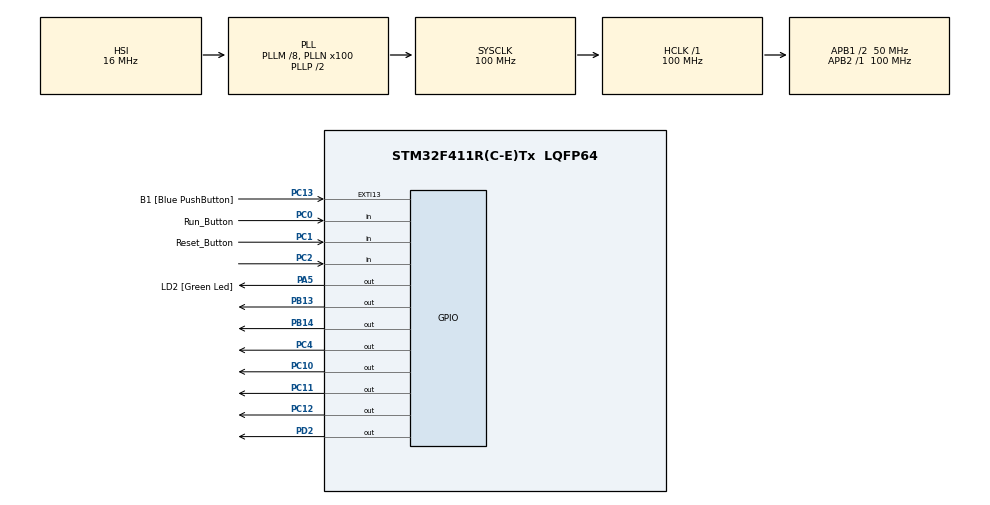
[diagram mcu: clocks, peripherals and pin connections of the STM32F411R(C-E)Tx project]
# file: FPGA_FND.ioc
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Mcu.Family=STM32F4
Mcu.Name=STM32F411R(C-E)Tx
Mcu.Package=LQFP64
NVIC.PriorityGroup=NVIC_PRIORITYGROUP_0
NVIC.TIM1_UP_TIM10_IRQn=true\:0\:0\:false\:false\:true\:true\:true\:true
PA13.GPIO_Label=TMS
PA13.Mode=Serial_Wire
PA13.Signal=SYS_JTMS-SWDIO
PA14.GPIO_Label=TCK
PA14.Mode=Serial_Wire
PA14.Signal=SYS_JTCK-SWCLK
PA2.Signal=USART2_TX
PA3.Signal=USART2_RX
PA5.GPIO_Label=LD2 [Green Led]
PA5.Signal=GPIO_Output
PB13.Signal=GPIO_Output
PB14.Signal=GPIO_Output
PB3.GPIO_Label=SWO
PB3.Signal=SYS_JTDO-SWO
PC0.GPIO_Label=Run_Button
PC0.Signal=GPIO_Input
PC1.GPIO_Label=Reset_Button
PC1.Signal=GPIO_Input
PC10.Signal=GPIO_Output
PC11.Signal=GPIO_Output
PC12.Signal=GPIO_Output
PC13-ANTI_TAMP.GPIO_Label=B1 [Blue PushButton]
PC13-ANTI_TAMP.GPIO_ModeDefaultEXTI=GPIO_MODE_IT_FALLING
PC13-ANTI_TAMP.Signal=GPXTI13
PC14-OSC32_IN.Signal=RCC_OSC32_IN
PC15-OSC32_OUT.Signal=RCC_OSC32_OUT
PC2.Signal=GPIO_Input
PC4.Signal=GPIO_Output
PD2.Signal=GPIO_Output
PH0\ -\ OSC_IN.Mode=HSE-External-Oscillator
PH0\ -\ OSC_IN.Signal=RCC_OSC_IN
PH1\ -\ OSC_OUT.Mode=HSE-External-Oscillator
PH1\ -\ OSC_OUT.Signal=RCC_OSC_OUT
ProjectManager.HeapSize=0x200
ProjectManager.StackSize=0x400
ProjectManager.TargetToolchain=STM32CubeIDE
RCC.48MHZClocksFreq_Value=50000000
RCC.AHBFreq_Value=100000000
RCC.APB1CLKDivider=RCC_HCLK_DIV2
RCC.APB1Freq_Value=50000000
RCC.APB1TimFreq_Value=100000000
RCC.APB2Freq_Value=100000000
RCC.APB2TimFreq_Value=100000000
RCC.CortexFreq_Value=100000000
RCC.FLatency-AdvancedSettings=FLASH_LATENCY_3
RCC.HCLKFreq_Value=100000000
RCC.HSE_VALUE=8000000
RCC.HSI_VALUE=16000000
RCC.LSE_VALUE=32768
RCC.PLLM=8
RCC.PLLN=100
RCC.SYSCLKFreq_VALUE=100000000
RCC.SYSCLKSource=RCC_SYSCLKSOURCE_PLLCLK
RCC.VCOOutputFreq_Value=200000000
TIM1.Period=100-1
TIM1.Prescaler=1000-1
VP_TIM1_VS_ClockSourceINT.Mode=Internal
board=NUCLEO-F411RE

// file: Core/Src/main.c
/* USER CODE BEGIN Header */
/**
  ******************************************************************************
  * @file           : main.c
  * @brief          : Main program body
  ******************************************************************************
  * @attention
  *
  * Copyright (c) 2022 STMicroelectronics.
  * All rights reserved.
  *
  * This software is licensed under terms that can be found in the LICENSE file
  * in the root directory of this software component.
  * If no LICENSE file comes with this software, it is provided AS-IS.
  *
  ******************************************************************************
  */
/* USER CODE END Header */
#include "main.h"

/* USER CODE BEGIN Includes */
#include "Driver/hw/Button/Button.h"
#include "Driver/hw/LED/Led.h"
#include "Driver/hw/FPGA_FND/FPGA_FND.h"
#include "Driver/app/Listener/Listener.h"
#include "Driver/app/Controller/Controller.h"
#include "Driver/app/Service/Service.h"
#include "Driver/app/View/View.h"

/* USER CODE END Includes */

TIM_HandleTypeDef htim1;

void SystemClock_Config(void);
static void MX_GPIO_Init(void);
static void MX_TIM1_Init(void);

/* USER CODE BEGIN 0 */
void HAL_TIM_PeriodElapsedCallback(TIM_HandleTypeDef *htim)
{
	if(htim->Instance == TIM1)
	{
		FPGA_FND_DispFNDNumber();
	}
}
/* USER CODE END 0 */

int main(void)
{

  /* MCU Configuration--------------------------------------------------------*/

  /* Reset of all peripherals, Initializes the Flash interface and the Systick. */
  HAL_Init();

  /* USER CODE BEGIN Init */
//  Button ledButton;
  Button runButton;
  Button resetButton;
//  Button_GetInstance(&ledButton, GPIOC, GPIO_PIN_13);
  Button_GetInstance(&runButton, GPIOC, GPIO_PIN_0);
  Button_GetInstance(&resetButton, GPIOC, GPIO_PIN_1);

  Led testLed;
  Led_GetInstance(&testLed, GPIOA, GPIO_PIN_5);
  /* USER CODE END Init */

  /* Configure the system clock */
  SystemClock_Config();

  /* Initialize all configured peripherals */
  MX_GPIO_Init();
  MX_TIM1_Init();

  /* Infinite loop */
  /* USER CODE BEGIN WHILE */
  HAL_TIM_Base_Start_IT(&htim1);
//  int number = 0;

  while (1)
  {
//	  if(Button_GetState(&ledButton) == ACTIVE_RELEASE)
//	  {
//		  Led_Toggle(&testLed);
//	  }
//	  FPGA_FND_SetNumber(number);
//	  number++;

	  Listener_CheckEvent(&runButton, &resetButton);
	  View_FND();
	  HAL_Delay(100);
    /* USER CODE END WHILE */

  }
}

void SystemClock_Config(void)
{
  RCC_OscInitTypeDef RCC_OscInitStruct = {0};
  RCC_ClkInitTypeDef RCC_ClkInitStruct = {0};

  /** Configure the main internal regulator output voltage
  */
  __HAL_RCC_PWR_CLK_ENABLE();
  __HAL_PWR_VOLTAGESCALING_CONFIG(PWR_REGULATOR_VOLTAGE_SCALE1);

  /** Initializes the RCC Oscillators according to the specified parameters
  * in the RCC_OscInitTypeDef structure.
  */
  RCC_OscInitStruct.OscillatorType = RCC_OSCILLATORTYPE_HSI;
  RCC_OscInitStruct.HSIState = RCC_HSI_ON;
  RCC_OscInitStruct.HSICalibrationValue = RCC_HSICALIBRATION_DEFAULT;
  RCC_OscInitStruct.PLL.PLLState = RCC_PLL_ON;
  RCC_OscInitStruct.PLL.PLLSource = RCC_PLLSOURCE_HSI;
  RCC_OscInitStruct.PLL.PLLM = 8;
  RCC_OscInitStruct.PLL.PLLN = 100;
  RCC_OscInitStruct.PLL.PLLP = RCC_PLLP_DIV2;
  RCC_OscInitStruct.PLL.PLLQ = 4;
  if (HAL_RCC_OscConfig(&RCC_OscInitStruct) != HAL_OK)
  {
    Error_Handler();
  }

  /** Initializes the CPU, AHB and APB buses clocks
  */
  RCC_ClkInitStruct.ClockType = RCC_CLOCKTYPE_HCLK|RCC_CLOCKTYPE_SYSCLK
                              |RCC_CLOCKTYPE_PCLK1|RCC_CLOCKTYPE_PCLK2;
  RCC_ClkInitStruct.SYSCLKSource = RCC_SYSCLKSOURCE_PLLCLK;
  RCC_ClkInitStruct.AHBCLKDivider = RCC_SYSCLK_DIV1;
  RCC_ClkInitStruct.APB1CLKDivider = RCC_HCLK_DIV2;
  RCC_ClkInitStruct.APB2CLKDivider = RCC_HCLK_DIV1;

  if (HAL_RCC_ClockConfig(&RCC_ClkInitStruct, FLASH_LATENCY_3) != HAL_OK)
  {
    Error_Handler();
  }
}

static void MX_TIM1_Init(void)
{

  TIM_ClockConfigTypeDef sClockSourceConfig = {0};
  TIM_MasterConfigTypeDef sMasterConfig = {0};

  htim1.Instance = TIM1;
  htim1.Init.Prescaler = 1000-1;
  htim1.Init.CounterMode = TIM_COUNTERMODE_UP;
  htim1.Init.Period = 100-1;
  htim1.Init.ClockDivision = TIM_CLOCKDIVISION_DIV1;
  htim1.Init.RepetitionCounter = 0;
  htim1.Init.AutoReloadPreload = TIM_AUTORELOAD_PRELOAD_DISABLE;
  if (HAL_TIM_Base_Init(&htim1) != HAL_OK)
  {
    Error_Handler();
  }
  sClockSourceConfig.ClockSource = TIM_CLOCKSOURCE_INTERNAL;
  if (HAL_TIM_ConfigClockSource(&htim1, &sClockSourceConfig) != HAL_OK)
  {
    Error_Handler();
  }
  sMasterConfig.MasterOutputTrigger = TIM_TRGO_RESET;
  sMasterConfig.MasterSlaveMode = TIM_MASTERSLAVEMODE_DISABLE;
  if (HAL_TIMEx_MasterConfigSynchronization(&htim1, &sMasterConfig) != HAL_OK)
  {
    Error_Handler();
  }

}

static void MX_GPIO_Init(void)
{
  GPIO_InitTypeDef GPIO_InitStruct = {0};

  /* GPIO Ports Clock Enable */
  __HAL_RCC_GPIOC_CLK_ENABLE();
  __HAL_RCC_GPIOH_CLK_ENABLE();
  __HAL_RCC_GPIOA_CLK_ENABLE();
  __HAL_RCC_GPIOB_CLK_ENABLE();
  __HAL_RCC_GPIOD_CLK_ENABLE();

  /*Configure GPIO pin Output Level */
  HAL_GPIO_WritePin(LD2_GPIO_Port, LD2_Pin, GPIO_PIN_RESET);

  /*Configure GPIO pin Output Level */
  HAL_GPIO_WritePin(GPIOC, GPIO_PIN_4|GPIO_PIN_10|GPIO_PIN_11|GPIO_PIN_12, GPIO_PIN_RESET);

  /*Configure GPIO pin Output Level */
  HAL_GPIO_WritePin(GPIOB, GPIO_PIN_13|GPIO_PIN_14, GPIO_PIN_RESET);

  /*Configure GPIO pin Output Level */
  HAL_GPIO_WritePin(GPIOD, GPIO_PIN_2, GPIO_PIN_RESET);

  /*Configure GPIO pin : B1_Pin */
  GPIO_InitStruct.Pin = B1_Pin;
  GPIO_InitStruct.Mode = GPIO_MODE_IT_FALLING;
  GPIO_InitStruct.Pull = GPIO_NOPULL;
  HAL_GPIO_Init(B1_GPIO_Port, &GPIO_InitStruct);

  /*Configure GPIO pins : Run_Button_Pin Reset_Button_Pin PC2 */
  GPIO_InitStruct.Pin = Run_Button_Pin|Reset_Button_Pin|GPIO_PIN_2;
  GPIO_InitStruct.Mode = GPIO_MODE_INPUT;
  GPIO_InitStruct.Pull = GPIO_NOPULL;
  HAL_GPIO_Init(GPIOC, &GPIO_InitStruct);

  /*Configure GPIO pins : PA2 PA3 */
  GPIO_InitStruct.Pin = GPIO_PIN_2|GPIO_PIN_3;
  GPIO_InitStruct.Mode = GPIO_MODE_AF_PP;
  GPIO_InitStruct.Pull = GPIO_NOPULL;
  GPIO_InitStruct.Speed = GPIO_SPEED_FREQ_VERY_HIGH;
  GPIO_InitStruct.Alternate = GPIO_AF7_USART2;
  HAL_GPIO_Init(GPIOA, &GPIO_InitStruct);

  /*Configure GPIO pin : LD2_Pin */
  GPIO_InitStruct.Pin = LD2_Pin;
  GPIO_InitStruct.Mode = GPIO_MODE_OUTPUT_PP;
  GPIO_InitStruct.Pull = GPIO_NOPULL;
  GPIO_InitStruct.Speed = GPIO_SPEED_FREQ_LOW;
  HAL_GPIO_Init(LD2_GPIO_Port, &GPIO_InitStruct);

  /*Configure GPIO pins : PC4 PC10 PC11 PC12 */
  GPIO_InitStruct.Pin = GPIO_PIN_4|GPIO_PIN_10|GPIO_PIN_11|GPIO_PIN_12;
  GPIO_InitStruct.Mode = GPIO_MODE_OUTPUT_PP;
  GPIO_InitStruct.Pull = GPIO_NOPULL;
  GPIO_InitStruct.Speed = GPIO_SPEED_FREQ_LOW;
  HAL_GPIO_Init(GPIOC, &GPIO_InitStruct);

  /*Configure GPIO pins : PB13 PB14 */
  GPIO_InitStruct.Pin = GPIO_PIN_13|GPIO_PIN_14;
  GPIO_InitStruct.Mode = GPIO_MODE_OUTPUT_PP;
  GPIO_InitStruct.Pull = GPIO_NOPULL;
  GPIO_InitStruct.Speed = GPIO_SPEED_FREQ_LOW;
  HAL_GPIO_Init(GPIOB, &GPIO_InitStruct);

  /*Configure GPIO pin : PD2 */
  GPIO_InitStruct.Pin = GPIO_PIN_2;
  GPIO_InitStruct.Mode = GPIO_MODE_OUTPUT_PP;
  GPIO_InitStruct.Pull = GPIO_NOPULL;
  GPIO_InitStruct.Speed = GPIO_SPEED_FREQ_LOW;
  HAL_GPIO_Init(GPIOD, &GPIO_InitStruct);

}

void Error_Handler(void)
{
  __disable_irq();
  while (1)
  {
  }
}
